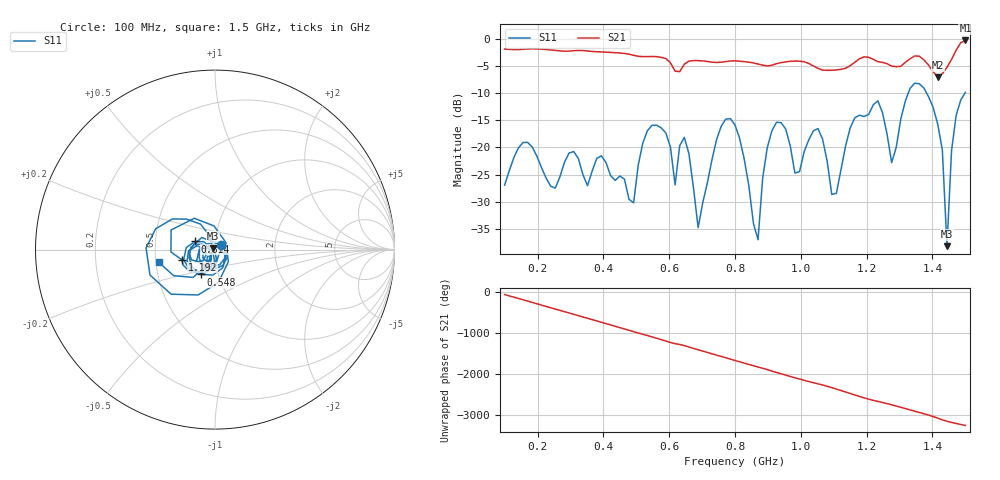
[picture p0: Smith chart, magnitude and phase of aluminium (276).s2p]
! NanoVNA-App
! Date: 2025-09-25 14:57:26
! Start: 100MHz Stop: 1,5GHz Points: 101
! S-Parameter data: F S11 S21 S12 S22
# Hz S RI R 50
!  Frequency  S11_Real  S11_Imag  S21_Real  S21_Imag  S12_Real  S12_Imag  S22_Real  S22_Imag
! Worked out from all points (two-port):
!   101 points, 100 MHz to 1.5 GHz, reference 50 ohm
!   highest |S21| = -0.35 dB at 1.5 GHz (marker M1); lowest = -7.1 dB at 1.416 GHz (marker M2)
!   |S21| within 3 dB of the highest: start of sweep to 563.9 MHz; 1.462 GHz to end of sweep (the widest 2 of 3)
!   lowest |S11| = -38.2 dB at 1.444 GHz (marker M3), VSWR 1.02, Z = 49 + j0.731 ohm
!   |S11| at or under -10 dB: start of sweep to 1.327 GHz; 1.382 GHz to 1.499 GHz (116.9 MHz wide, 8.12 % of centre)
!   S12 and S22 are empty: the file has one direction only
!   S11 on the Smith chart (normalised r, x): 100 MHz: 1.07, +0.06; 548 MHz: 0.82, -0.23; 814 MHz: 0.80, +0.07; 1.192 GHz: 0.69, -0.08; 1.5 GHz: 0.52, -0.08
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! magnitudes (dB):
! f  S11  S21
! 100 MHz  -27.0  -1.9
! 338 MHz  -25.0  -2.2
! 492 MHz  -30.2  -3.1
! 548 MHz  -16.0  -3.3
! 576 MHz  -16.4  -3.5
! 618 MHz  -26.9  -6.0
! 646 MHz  -18.2  -4.7
! 688 MHz  -34.8  -4.1
! 800 MHz  -15.9  -4.1
! 814 MHz  -18.4  -4.2
! 870 MHz  -37.0  -4.7
! 912 MHz  -17.0  -4.9
! 982 MHz  -24.7  -4.1
! 1.038 GHz  -17.0  -5.0
! 1.108 GHz  -28.5  -5.8
! 1.192 GHz  -14.3  -3.4
! 1.276 GHz  -22.8  -5.1
! 1.346 GHz  -8.2  -3.2
! 1.416 GHz  -15.7  -7.1
! 1.444 GHz  -38.2  -5.3
! 1.458 GHz  -20.6  -3.8
! 1.5 GHz  -9.9  -0.3
